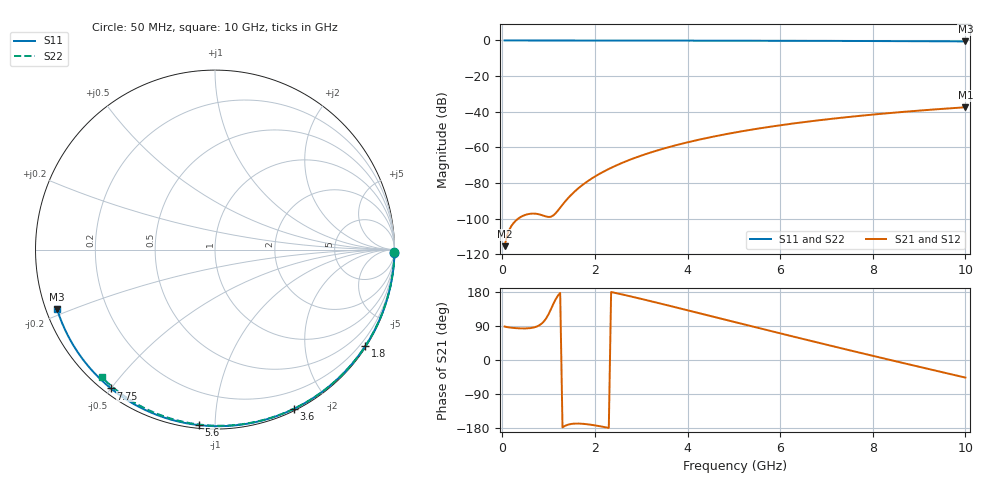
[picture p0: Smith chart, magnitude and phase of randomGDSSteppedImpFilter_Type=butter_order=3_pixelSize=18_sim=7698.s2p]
! freq	dB(S11)	phase(S11)	dB(S12)	phase(S12)
!  dB(S21)	phase(S21)	dB(S22)	phase(S22)
!S-par simulation data
#  GHz  S  DB  R 50
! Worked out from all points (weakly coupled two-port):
!   200 points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, 50 MHz to 10 GHz, reference 50 ohm
!   highest |S21| = -37.52 dB at 10 GHz (marker M1); lowest = -115.5 dB at 50 MHz (marker M2)
!   lowest |S11| = -0.5 dB at 10 GHz (marker M3), VSWR 32.59, Z = 1.59 - j9.14 ohm
!   |S11| at or under -10 dB: nowhere
!   |S22| runs from -0.4 to 0.0 dB; largest |S21 - S12| = 0
!   S11 on the Smith chart (normalised r, x): 50 MHz: open; 1.8 GHz: 0.03, -3.41; 3.6 GHz: 0.02, -1.61; 5.6 GHz: 0.02, -0.91; 7.75 GHz: 0.02, -0.50; 10 GHz: 0.03, -0.18
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0.05  -0.00 -0.9  -115.51 88.3  -115.51 88.3  -0.00 -0.8
0.45  -0.01 -8.3  -98.42 83.3  -98.42 83.3  -0.01 -6.8
0.9  -0.02 -16.5  -98.47 102.1  -98.47 102.1  -0.02 -13.6
1.3  -0.03 -23.8  -92.22 -177.7  -92.22 -177.7  -0.02 -19.6
1.75  -0.04 -31.8  -80.78 -168.5  -80.78 -168.5  -0.03 -26.2
1.8  -0.04 -32.7  -79.82 -169.1  -79.82 -169.1  -0.03 -27.0
1.95  -0.05 -35.4  -77.20 -171.5  -77.20 -171.5  -0.04 -29.2
2.1  -0.05 -38.0  -74.88 -174.6  -74.88 -174.6  -0.04 -31.3
2.3  -0.05 -41.5  -72.15 -179.3  -72.15 -179.3  -0.04 -34.3
2.5  -0.06 -45.0  -69.72 175.4  -69.72 175.4  -0.05 -37.1
2.9  -0.07 -51.9  -65.58 164.2  -65.58 164.2  -0.06 -42.9
3.4  -0.08 -60.3  -61.34 149.4  -61.34 149.4  -0.07 -49.9
3.6  -0.09 -63.6  -59.86 143.4  -59.86 143.4  -0.07 -52.7
4.3  -0.11 -75.0  -55.41 122.1  -55.41 122.1  -0.09 -62.3
5.05  -0.13 -86.9  -51.56 99.2  -51.56 99.2  -0.11 -72.2
5.6  -0.16 -95.3  -49.18 82.5  -49.18 82.5  -0.13 -79.4
6.15  -0.19 -103.6  -47.09 65.8  -47.09 65.8  -0.15 -86.3
6.7  -0.22 -111.7  -45.24 49.3  -45.24 49.3  -0.18 -93.1
7.75  -0.29 -126.9  -42.24 18.3  -42.24 18.3  -0.24 -105.7
8.35  -0.35 -135.4  -40.79 0.8  -40.79 0.8  -0.29 -112.7
9.2  -0.44 -147.6  -38.98 -23.6  -38.98 -23.6  -0.36 -122.5
10  -0.53 -159.3  -37.52 -46.4  -37.52 -46.4  -0.45 -131.5
